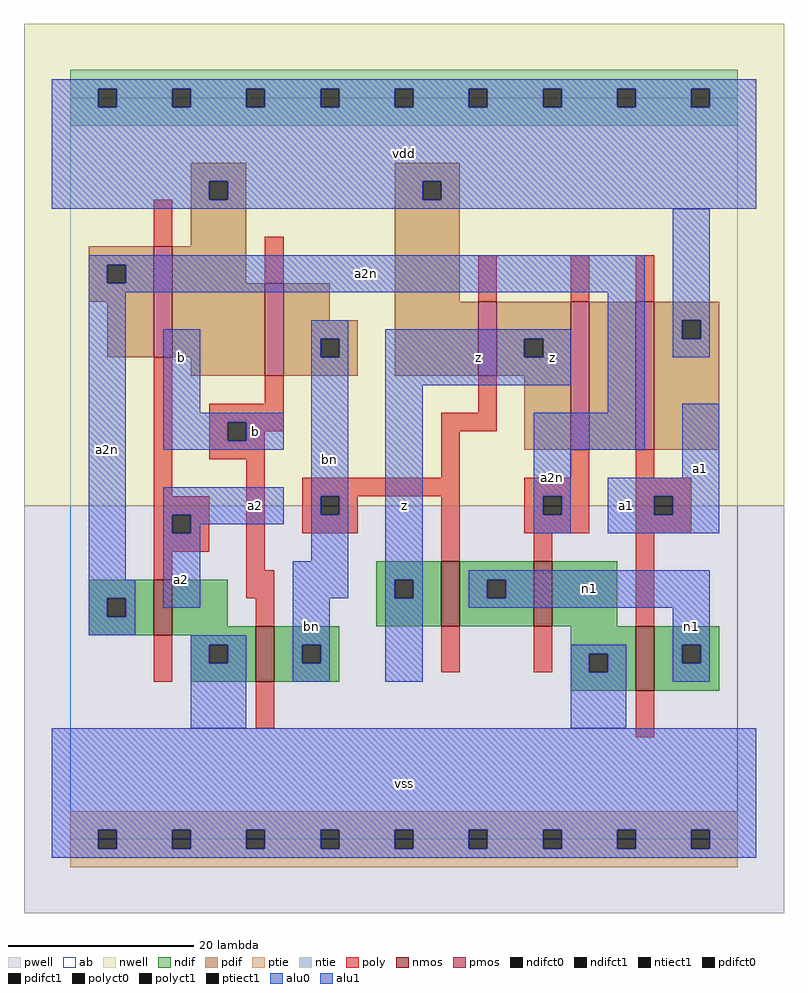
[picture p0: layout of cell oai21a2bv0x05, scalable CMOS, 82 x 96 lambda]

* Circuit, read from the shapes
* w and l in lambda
.subckt oai21a2bv0x05 a1 a2 a2n b bn n1 vdd vss z
M1 vss a2 a2n vss nfet w=6 l=2
M2 bn b vss vss nfet w=6 l=2
M3 n1 bn z vss nfet w=7 l=2
M4 vss a2n n1 vss nfet w=7 l=2
M5 n1 a1 vss vss nfet w=7 l=2
M6 vdd a2 a2n vdd pfet w=12 l=2
M7 bn b vdd vdd pfet w=10 l=2
M8 z bn vdd vdd pfet w=8 l=2
M9 n2 a2n z vdd pfet w=16 l=2
M10 vdd a1 n2 vdd pfet w=16 l=2
.ends

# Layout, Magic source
magic
tech scmos
<< ab >>
rect 0 0 72 80
<< nwell >>
rect -5 36 77 88
<< pwell >>
rect -5 -8 77 36
<< poly >>
rect 9 64 11 69
rect 21 60 23 65
rect 9 37 11 52
rect 44 58 46 63
rect 54 58 56 63
rect 61 58 63 63
rect 21 47 23 50
rect 15 45 23 47
rect 44 46 46 50
rect 15 43 17 45
rect 19 44 23 45
rect 40 44 46 46
rect 19 43 21 44
rect 15 41 21 43
rect 9 35 15 37
rect 9 33 11 35
rect 13 33 15 35
rect 9 31 15 33
rect 9 28 11 31
rect 19 29 21 41
rect 40 39 42 44
rect 54 39 56 42
rect 25 37 42 39
rect 25 35 27 37
rect 29 35 31 37
rect 25 33 31 35
rect 40 30 42 37
rect 49 37 56 39
rect 49 35 51 37
rect 53 35 56 37
rect 49 33 56 35
rect 61 39 63 42
rect 61 37 67 39
rect 61 35 63 37
rect 65 35 67 37
rect 61 33 67 35
rect 50 30 52 33
rect 19 26 22 29
rect 20 23 22 26
rect 61 23 63 33
rect 9 17 11 22
rect 40 18 42 23
rect 50 18 52 23
rect 20 12 22 17
rect 61 11 63 16
<< ndif >>
rect 2 26 9 28
rect 2 24 4 26
rect 6 24 9 26
rect 2 22 9 24
rect 11 23 17 28
rect 33 28 40 30
rect 33 26 35 28
rect 37 26 40 28
rect 33 23 40 26
rect 42 28 50 30
rect 42 26 45 28
rect 47 26 50 28
rect 42 23 50 26
rect 52 23 59 30
rect 11 22 20 23
rect 13 21 20 22
rect 13 19 15 21
rect 17 19 20 21
rect 13 17 20 19
rect 22 21 29 23
rect 22 19 25 21
rect 27 19 29 21
rect 22 17 29 19
rect 54 20 61 23
rect 54 18 56 20
rect 58 18 61 20
rect 54 16 61 18
rect 63 21 70 23
rect 63 19 66 21
rect 68 19 70 21
rect 63 16 70 19
<< pdif >>
rect 13 71 19 73
rect 13 69 15 71
rect 17 69 19 71
rect 13 64 19 69
rect 35 71 42 73
rect 35 69 38 71
rect 40 69 42 71
rect 2 62 9 64
rect 2 60 4 62
rect 6 60 9 62
rect 2 58 9 60
rect 4 52 9 58
rect 11 60 19 64
rect 11 52 21 60
rect 13 50 21 52
rect 23 56 28 60
rect 35 58 42 69
rect 23 54 31 56
rect 23 52 27 54
rect 29 52 31 54
rect 23 50 31 52
rect 35 50 44 58
rect 46 54 54 58
rect 46 52 49 54
rect 51 52 54 54
rect 46 50 54 52
rect 49 42 54 50
rect 56 42 61 58
rect 63 56 70 58
rect 63 54 66 56
rect 68 54 70 56
rect 63 42 70 54
<< alu1 >>
rect -2 81 74 82
rect -2 79 3 81
rect 5 79 11 81
rect 13 79 19 81
rect 21 79 27 81
rect 29 79 35 81
rect 37 79 43 81
rect 45 79 51 81
rect 53 79 59 81
rect 61 79 67 81
rect 69 79 74 81
rect -2 71 74 79
rect -2 69 15 71
rect 17 69 38 71
rect 40 69 74 71
rect -2 68 74 69
rect 10 46 14 55
rect 10 45 23 46
rect 10 43 17 45
rect 19 43 23 45
rect 10 42 23 43
rect 10 35 23 38
rect 10 33 11 35
rect 13 34 23 35
rect 13 33 14 34
rect 10 25 14 33
rect 34 54 54 55
rect 34 52 49 54
rect 51 52 54 54
rect 34 49 54 52
rect 34 28 38 49
rect 66 39 70 47
rect 58 37 70 39
rect 58 35 63 37
rect 65 35 70 37
rect 58 33 70 35
rect 34 26 35 28
rect 37 26 38 28
rect 34 17 38 26
rect -2 1 74 12
rect -2 -1 3 1
rect 5 -1 11 1
rect 13 -1 19 1
rect 21 -1 27 1
rect 29 -1 35 1
rect 37 -1 43 1
rect 45 -1 51 1
rect 53 -1 59 1
rect 61 -1 67 1
rect 69 -1 74 1
rect -2 -2 74 -1
<< ptie >>
rect 0 1 72 3
rect 0 -1 3 1
rect 5 -1 11 1
rect 13 -1 19 1
rect 21 -1 27 1
rect 29 -1 35 1
rect 37 -1 43 1
rect 45 -1 51 1
rect 53 -1 59 1
rect 61 -1 67 1
rect 69 -1 72 1
rect 0 -3 72 -1
<< ntie >>
rect 0 81 72 83
rect 0 79 3 81
rect 5 79 11 81
rect 13 79 19 81
rect 21 79 27 81
rect 29 79 35 81
rect 37 79 43 81
rect 45 79 51 81
rect 53 79 59 81
rect 61 79 67 81
rect 69 79 72 81
rect 0 77 72 79
<< nmos >>
rect 9 22 11 28
rect 40 23 42 30
rect 50 23 52 30
rect 20 17 22 23
rect 61 16 63 23
<< pmos >>
rect 9 52 11 64
rect 21 50 23 60
rect 44 50 46 58
rect 54 42 56 58
rect 61 42 63 58
<< polyct0 >>
rect 27 35 29 37
rect 51 35 53 37
<< polyct1 >>
rect 17 43 19 45
rect 11 33 13 35
rect 63 35 65 37
<< ndifct0 >>
rect 4 24 6 26
rect 45 26 47 28
rect 15 19 17 21
rect 25 19 27 21
rect 56 18 58 20
rect 66 19 68 21
<< ndifct1 >>
rect 35 26 37 28
<< ntiect1 >>
rect 3 79 5 81
rect 11 79 13 81
rect 19 79 21 81
rect 27 79 29 81
rect 35 79 37 81
rect 43 79 45 81
rect 51 79 53 81
rect 59 79 61 81
rect 67 79 69 81
<< ptiect1 >>
rect 3 -1 5 1
rect 11 -1 13 1
rect 19 -1 21 1
rect 27 -1 29 1
rect 35 -1 37 1
rect 43 -1 45 1
rect 51 -1 53 1
rect 59 -1 61 1
rect 67 -1 69 1
<< pdifct0 >>
rect 4 60 6 62
rect 27 52 29 54
rect 66 54 68 56
<< pdifct1 >>
rect 15 69 17 71
rect 38 69 40 71
rect 49 52 51 54
<< alu0 >>
rect 2 62 62 63
rect 2 60 4 62
rect 6 60 62 62
rect 2 59 62 60
rect 2 28 6 59
rect 26 54 30 56
rect 26 52 27 54
rect 29 52 30 54
rect 26 37 30 52
rect 26 35 27 37
rect 29 35 30 37
rect 2 26 7 28
rect 2 24 4 26
rect 6 24 7 26
rect 26 30 30 35
rect 24 26 30 30
rect 58 46 62 59
rect 65 56 69 68
rect 65 54 66 56
rect 68 54 69 56
rect 65 52 69 54
rect 50 42 62 46
rect 50 37 54 42
rect 50 35 51 37
rect 53 35 54 37
rect 50 33 54 35
rect 2 22 7 24
rect 13 21 19 22
rect 13 19 15 21
rect 17 19 19 21
rect 13 12 19 19
rect 24 21 28 26
rect 24 19 25 21
rect 27 19 28 21
rect 24 17 28 19
rect 43 28 69 29
rect 43 26 45 28
rect 47 26 69 28
rect 43 25 69 26
rect 65 21 69 25
rect 54 20 60 21
rect 54 18 56 20
rect 58 18 60 20
rect 54 12 60 18
rect 65 19 66 21
rect 68 19 69 21
rect 65 17 69 19
<< labels >>
rlabel alu0 4 42 4 42 6 a2n
rlabel alu0 26 23 26 23 6 bn
rlabel alu0 28 41 28 41 6 bn
rlabel alu0 67 23 67 23 6 n1
rlabel alu0 56 27 56 27 6 n1
rlabel alu0 52 39 52 39 6 a2n
rlabel alu0 32 61 32 61 6 a2n
rlabel alu1 12 28 12 28 6 a2
rlabel alu1 12 52 12 52 6 b
rlabel alu1 20 36 20 36 6 a2
rlabel alu1 20 44 20 44 6 b
rlabel alu1 36 6 36 6 6 vss
rlabel alu1 36 36 36 36 6 z
rlabel alu1 44 52 44 52 6 z
rlabel alu1 52 52 52 52 6 z
rlabel alu1 36 74 36 74 6 vdd
rlabel alu1 60 36 60 36 6 a1
rlabel alu1 68 40 68 40 6 a1
<< end >>
